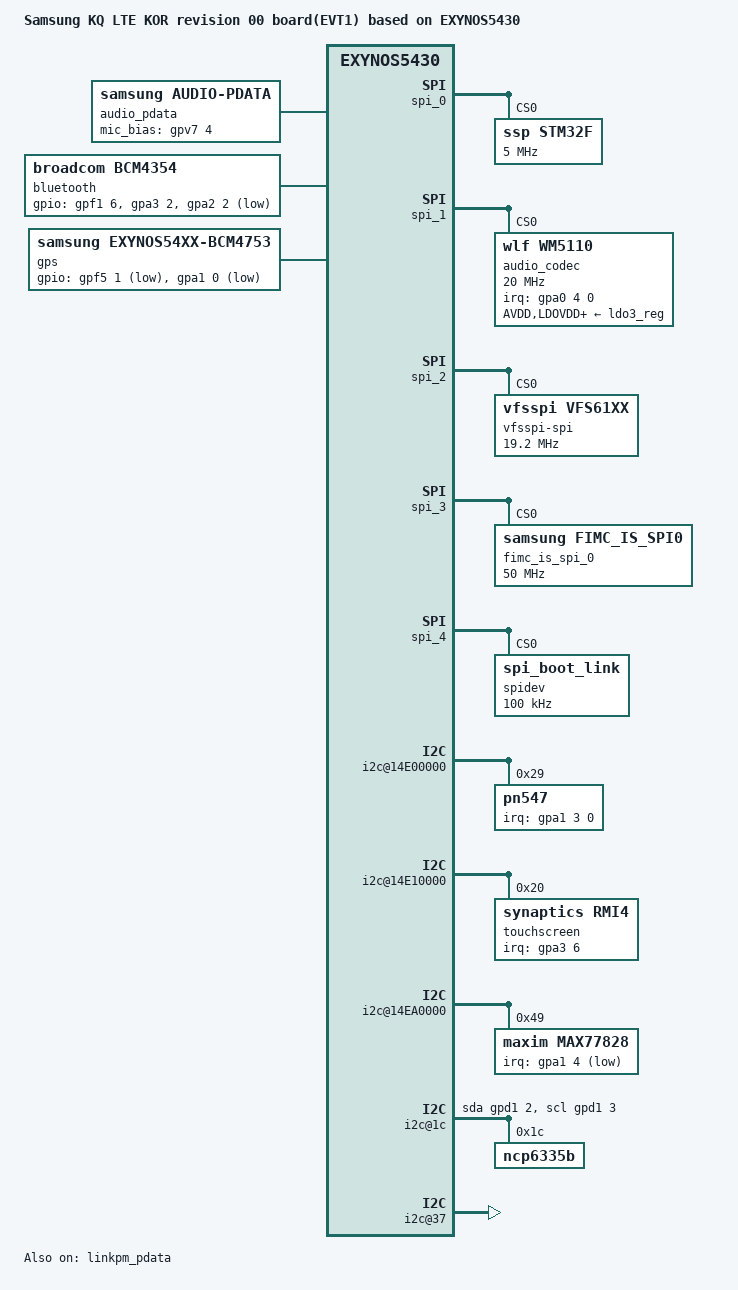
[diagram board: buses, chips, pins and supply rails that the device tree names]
/*
 * SAMSUNG UNIVERSAL5430 board device tree source
 *
 * Copyright (c) 2013 Samsung Electronics Co., Ltd.
 *		http://www.samsung.com
 *
 * This program is free software; you can redistribute it and/or modify
 * it under the terms of the GNU General Public License version 2 as
 * published by the Free Software Foundation.
*/

/dts-v1/;
#include "exynos5430-kq_common.dtsi"
#include "exynos5430-kq_battery.dtsi"
#include "exynos5430-tdmb-kqlte-r00.dtsi"
#include "exynos5-sec_modem-shannon.dtsi"
#include "exynos5430-kqlte_gpio-kor_01.dtsi"

/ {
	model = "Samsung KQ LTE KOR revision 00 board(EVT1) based on EXYNOS5430";
	model_info-chip = <5430>;
	model_info-platform = "kqlte";
	model_info-subtype = "kqlte_kor_open";
	model_info-hw_rev = <0>;
	model_info-hw_rev_end = <0>; /* If add new dts file for new hw , it is set to <x>. x is suppored max system revision by this dts */
	compatible = "samsung,KQ LTE KOR,r00", "samsung,exynos5430";

	dwmmc2@15560000 {
		supports-sdr104-mode;
                vmmc-en-gpio = <&gpf3 4 0x1>;
	};

	/* modem_interface_driver: LTE */
	mif_pdata {
		compatible = "sec_modem,modem_pdata";
		status = "okay";
		pinctrl-names = "default";
		pinctrl-0 = <&cp_on &cp_off &cp_reset>;

		mif,gpio_cp_on = <&gpg2 4 0x1>;
		mif,gpio_cp_off = <&gpf4 7 0x1>;
		mif,gpio_cp_reset = <&gpa1 2 0x1>;
		mif,gpio_cp_dump_int = <&gpa2 5 0xf>;
		mif,gpio_ap_dump_int = <&gpf4 4 0x1>;
		mif,gpio_phone_active = <&gpa2 3 0x1>;
	};

	linkpm_pdata {
		compatible = "sec_modem,linkpm_pdata";
		status = "okay";

		reg = <0x12110000 0x100>,
		      <0x12130000 0x100>;

		linkpm,gpio_link_active = <&gpf4 3 0x1>;
		linkpm,gpio_link_hostwake = <&gpa2 6 0xf>;
		linkpm,gpio_link_slavewake = <&gpf4 6 0x1>;
	};

	pinctrl@10580000 {
		cp_reset: cp_reset {
			samsung,pins = "gpa1-2";
			samsung,pin-function = <1>;
			samsung,pin-con-pdn = <3>;
			samsung,pin-pud-pdn = <0>;
		};
	};

	pinctrl@14CC0000 {
		cp_on: cp_on {
			samsung,pins = "gpg2-4";
			samsung,pin-function = <1>;
			samsung,pin-con-pdn = <3>;
			samsung,pin-pud-pdn = <0>;
		};
		cp_off: cp_off {
			samsung,pins = "gpf4-7";
			samsung,pin-function = <1>;
			samsung,pin-con-pdn = <3>;
			samsung,pin-pud-pdn = <0>;
		};
	};
	/* End of Modem Interface */

	pinctrl@14CC0000 {
		spi0_bus: spi0-bus {
			samsung,pin-drv = <3>;
		};
		spi0_cs: spi0-cs {
			samsung,pin-drv = <3>;
		};
	};

	spi_0: spi@14d20000 {
		#address-cells = <1>;
		#size-cells = <0>;
		pinctrl-names = "default";
		pinctrl-0 = <&spi0_bus>;
		pinctrl-1 = <&spi0_cs>;

		STM32F@0 {
			compatible = "ssp,STM32F";
			reg = <0>;
			spi-max-frequency = <5000000>;
			pinctrl-names = "default";
			pinctrl-0 = <&ssp_irq &ssp_irq2 &ssp_ap_int &ssp_reset>;

			gpio-controller;
			#gpio-cells = <2>;
			ssp-irq = <&gpa3 3 0x01>;
			ssp-irq2 = <&gpa3 4 0x00>;
			ssp-ap-int = <&gpa3 7 0x00>;
			ssp-reset = <&gpd4 0 0x00>;
			ssp-acc-position = <6>;
			ssp-mag-position = <3>;
			ssp-sns-combination = <0>;
			ssp-ap-rev = <1>;

			controller-data {
				cs-gpio = <&gpd8 1 0>;
				samsung,spi-feedback-delay = <0>;
				};
			};
	};

	spi_1: spi@14d30000 {
		#address-cells = <1>;
		#size-cells = <0>;
		pinctrl-names = "default";
		pinctrl-0 = <&spi1_bus>;

		audio_codec: wm5110@0 {
			compatible = "wlf,wm5110";
			reg = <0x0>;
			spi-max-frequency = <20000000>;
			interrupts = <4 0 0>;
			interrupt-parent = <&gpa0>;

			gpio-controller;
			#gpio-cells = <2>;

			pinctrl-names ="default";
			pinctrl-0 = <&codec_ctrl>;

			wlf,reset = <&gpv7 3 0>;
			wlf,ldoena = <&gpf4 2 0>;
			wlf,init-mic-delay = <30>;
			wlf,micd-detect-debounce = <300>;
			wlf,micd-bias-start-time = <0x1>;
			wlf,micd-rate = <0x7>;
			wlf,micd-dbtime = <0x1>;
			wlf,micd-timeout = <1000>;
			wlf,micd-force-micbias;
			wlf,micd-ranges = <
				139 226
				295 115
				752 114
				1257 217
			>;

			wlf,micd-configs = <
				0x0 1 0
			>;

			wlf,micbias1 = <2800 0 1 0 0>;
			wlf,micbias2 = <1800 0 1 0 0>;
			wlf,micbias3 = <1800 0 1 0 0>;

			wlf,gpio-defaults = <
				0xA101
				0xA101
				0xA101
				0xA101
				0x8101
			>;

			wlf,gpsw = <0x3>;
			wlf,use-jd-gpio;
			wlf,jd-gpio-nopull;
			wlf,micd-software-compare;
			wlf,micd-open-circuit-declare = <1>;

			wlf,max-channels-clocked = <2 0 0>;
			/* 0:MICVDD 1:MICBIAS1 2:MICBIAS2 3:MICBIAS3 */
			wlf,dmic-ref = <2 1 3 0>;
			/* 1st cell:IN1 2rd cell:IN2 3nd cell:IN3 4th cell:IN4 */
			wlf,inmode = <2 0 2 0>;

			AVDD-supply = <&ldo3_reg>;
			LDOVDD-supply = <&ldo3_reg>;
			DBVDD1-supply = <&ldo3_reg>;

			CPVDD-supply = <&ldo3_reg>;
			DBVDD2-supply = <&ldo3_reg>;
			DBVDD3-supply = <&ldo3_reg>;
			SPKVDDL-supply = <&ldo3_reg>;
			SPKVDDR-supply = <&ldo3_reg>;

			adsps {
				#address-cells = <1>;
				#size-cells = <0>;

				adsp@1100 {
					reg = <0x1100>;
					firmware {
						EDAC {
							wlf,wmfw-file = "edac";
							wlf,bin-file = "edac";
						};
						TRACE {
							wlf,wmfw-file = "trace";
							wlf,compr-caps = <1 8 0x4 1 8000 16000 24000>;
						};
					};
				};
				adsp@1200 {
					reg = <0x1200>;
					firmware {
						TX_NB {
							wlf,wmfw-file = "tx-nb";
						};
						TX_WB {
							wlf,wmfw-file = "tx-wb";
						};
						TX_SWB_INTERVIEW {
							wlf,wmfw-file = "tx-swb";
						};
						TX_SWB_CONVERSATION {
							wlf,wmfw-file = "tx-swb";
						};
					};
				};
				adsp@1300 {
					reg = <0x1300>;
					firmware {
						TX_NB {
							wlf,wmfw-file = "tx-nb";
							wlf,bin-file = "tx-nb";
						};
						TX_WB {
							wlf,wmfw-file = "tx-wb";
							wlf,bin-file = "tx-wb";
						};
						TX_SWB_INTERVIEW {
							wlf,wmfw-file = "tx-swb";
							wlf,bin-file = "tx-swb-interview";
						};
						TX_SWB_CONVERSATION {
							wlf,wmfw-file = "tx-swb";
							wlf,bin-file = "tx-swb-conversation";
						};
						VOICECONTROL {
							wlf,wmfw-file = "ez2-control";
							wlf,bin-file = "ez2-control";
						};
						LPSD {
							wlf,wmfw-file = "ez2-control";
							wlf,bin-file = "lpsd-control";
						};
					};
				};
				adsp@1400 {
					reg = <0x1400>;
					firmware {
						RX_NB {
							wlf,wmfw-file = "rx-anc-nb";
							wlf,bin-file = "rx-anc-nb";
						};
						RX_WB {
							wlf,wmfw-file = "rx-anc-wb";
							wlf,bin-file = "rx-anc-wb";
						};
					};
				};
			};
			controller-data {
				cs-gpio = <&gpd6 3 0>;
				samsung,spi-feedback-delay = <0>;
			};
		};
	};

	pinctrl@10580000 {
		btp_irq: btp-irq {
			samsung,pins = "gpa1-7";
			samsung,pin-function = <0>;
			samsung,pin-pud = <3>;
			samsung,pin-drv = <3>;
		};
		btp_reset: btp-reset {
			samsung,pins = "gpa3-1";
			samsung,pin-function = <1>;
			samsung,pin-pud = <1>;
			samsung,pin-drv = <0>;
		};
	};
	pinctrl@14CC0000 {
		ocp_flag: ocf-flag {
			samsung,pins = "gpf0-3";
			samsung,pin-function = <0>;
			samsung,pin-pud = <3>;
			samsung,pin-drv = <3>;
		};
		btp_ldo: btp-ldo {
			samsung,pins = "gpf4-0";
			samsung,pin-function = <1>;
			samsung,pin-pud = <1>;
			samsung,pin-drv = <0>;
		};
		spi2_bus: spi2-bus {
			samsung,pin-drv = <3>;
		};

		spi2_cs: spi2-cs {
			samsung,pin-drv = <3>;
		};
	};
	spi_2: spi@14d40000 {
		/delete-property/ dma-mode;
		/delete-property/ dmas;
		/delete-property/ dma-names;
		#address-cells = <1>;
		#size-cells = <0>;
		pinctrl-names = "default";
		pinctrl-0 = <&spi2_bus>;

		vfsspi-spi@0 {
			compatible = "vfsspi,vfs61xx";
			reg = <0>;
			spi-max-frequency = <19200000>;
			pinctrl-names = "default";
			pinctrl-0 = <&btp_irq &btp_reset &btp_ldo &ocp_flag>;

			gpio-controller;
			#gpio-cells = <2>;

			vfsspi-sleepPin = <&gpa3 1 0x00>;
			vfsspi-drdyPin = <&gpa1 7 0x00>;
			vfsspi-ldoPin = <&gpf4  0 0x00>;
			/* vfsspi-ocpflag = <&gpf0 3 0x00>; */
			vfsspi-orient = <1>;
			vfsspi-ldocontrol = <1>;
			vfsspi-irqpincon = <2>; /* 1: K3G(5422), 2: KQ(5430) */

			controller-data {
				cs-gpio = <&gpd5 1 0 0 3>;
				samsung,spi-feedback-delay = <0>;
			};
		};
	};

	spi_3: spi@141a0000 {
		fimc-is-spi;
		domain = "cam1";
		samsung,power-domain = <&pd_cam1>;

		#address-cells = <1>;
		#size-cells = <0>;

		fimc_is_spi_0@0 {
			compatible = "samsung,fimc_is_spi0";
			spi-max-frequency = <50000000>;
			reg = <0x0>;

			controller-data {
				cs-gpio = <&gpc0 6 0>;
				samsung,spi-feedback-delay = <0>;
			};
		};
	};

	spi_4: spi@141b0000 {
		fimc-is-spi;
		domain = "cam1";
		samsung,power-domain = <&pd_cam1>;

		#address-cells = <1>;
		#size-cells = <0>;

		spidev@0 {
			#address-cells = <1>;
			#size-cells = <1>;
			compatible = "spi_boot_link";
			reg = <0x0>;
			spi-max-frequency = <100000>;

			controller-data {
				samsung,spi-feedback-delay = <0>;
				samsung,spi-chip-select-mode = <1>;
			};
		};
	};


	mipi-lli@10F24000 {
		reg = <0x10F24000 0x4000>,
		      <0x10F34000 0x4000>,
		      <0x10FD0000 0x2000>,
		      <0x105C0720 0x4>;
	};

	audio_pdata {
		compatible = "samsung,audio-pdata";

		mic_bias_gpio = <&gpv7 4 0>;
		status = "okay";
	};

	pinctrl@14CC0000 {
		codec_ctrl: codec-ctl {
			samsung,pins ="gpv7-3", "gpv7-4", "gpf4-2";
			samsung,pin-con-pdn = <3>;
		};
	};

	i2c@14E00000 {
		samsung,i2c-sda-delay = <100>;
		samsung,i2c-max-bus-freq = <400000>;
		#address-cells = <1>;
		#size-cells = <0>;
		status = "okay";

		pn547@2b {
			compatible = "pn547";
			reg = <0x29>;

			interrupts = <3 0 0>;
			interrupt-parent = <&gpa1>;

			pn547-en = <&gpf1 4 0>;
			pn547-irq = <&gpa1 3 0>;
			pn547-firmware = <&gpj0 2 0>;
			pn547-clk-req = <&gpa0 0 0xf>;
			pn547-clk-use = <1>;
		};

		fimc_is_fan53555@60 {
			status = "disabled";
		};
	};

	pinctrl@10580000 {
		attn_irq: attn-irq {
			samsung,pins = "gpa3-6";
			samsung,pin-function = <0xf>;
			samsung,pin-pud = <0>;
			samsung,pin-drv = <0>;
		};
		attn_input: attn-input {
			samsung,pins = "gpa3-6";
			samsung,pin-function = <0>;
			samsung,pin-pud = <1>;
			samsung,pin-drv = <0>;
		};
	};

	i2c@14E10000 {
		samsung,i2c-sda-delay = <100>;
		samsung,i2c-max-bus-freq = <400000>;
		status = "okay";
		touchscreen@20 {
			compatible = "synaptics,rmi4";
			reg = <0x20>;
			pinctrl-names = "on_state", "off_state";
			pinctrl-0 = <&attn_irq>;
			pinctrl-1 = <&attn_input>;
			synaptics,irq_gpio = <&gpa3 6 0>;
			synaptics,irq_type = <8200>;
			synaptics,max_coords = <1439 2559>;	/* x y */
			synaptics,num_lines = <29 16>;		/* rx tx */
			synaptics,regulator_dvdd = "tsp_io";
			synaptics,regulator_avdd = "tsp_avdd";
			synaptics,project_name = "KQ";
		};
	};

	pinctrl@14CC0000 {
		vibetonz_pwm: vibetonz-pwm {
		      samsung,pins = "gpd2-4";
		      samsung,pin-function = <2>;
		      samsung,pin-pud = <0>;
		      samsung,pin-drv = <0>;
	      };
	};
	i2c@14EA0000 {
		samsung,i2c-sda-delay = <100>;
		samsung,i2c-max-bus-freq = <400000>;
		status = "okay";
		max77804@66 {
			status = "disabled";
		};
		max77828@49 {
			compatible = "maxim,max77828";
			reg = <0x49>;
			pinctrl-names = "default";
			pinctrl-0 = <&mfd_irq &vibetonz_pwm>;
			max77828,irq-gpio = <&gpa1 4 1>;
			max77828,wakeup;
			haptic {
				haptic,max_timeout = <10000>;
				haptic,duty = <34500>;
				haptic,period = <38240>;
				haptic,pwm_id = <0>;
				haptic,regulator_name = "VCC_3.0V_MOTOR_AP";
			};
		};
	};

	i2c_8: i2c@14130000 {
		samsung,spi-feedback-delay = <0>;
		samsung,spi-chip-select-mode = <1>;
        };

	i2c@1c{
		compatible = "i2c-gpio";
		gpios = <&gpd1 2 0 /* sda */
                            &gpd1 3 0 /* scl */
                            >;
		i2c-gpio,delay-us = <2>;
		#address-cells = <1>;
		#size-cells = <0>;
		status = "okay";

		ncp6335b@1c {
			compatible = "ncp6335b";
			reg = <0x1c>;
			ncp6335b,dev_name = "ncp6335b";
		};
	};

	i2c@37 {
		status = "okay";
	};

	torch {
		status = "disabled";
	};

	fimc_is@14000000 {
		use_vision = <0>;
	};

	pinctrl@114B0000 {
		uart_aud_rts: uart-aud-rts {
			samsung,pins = "gpz1-3";
			samsung,pin-function = <2>;
			samsung,pin-pud = <0>;
			samsung,pin-con-pdn = <1>;
			samsung,pin-pud-pdn = <0>;
		};

		uart_aud_cts: uart-aud-cts {
			samsung,pins = "gpz1-2";
			samsung,pin-function = <2>;
			samsung,pin-pud = <0>;
			samsung,pin-con-pdn = <2>;
			samsung,pin-pud-pdn = <0>;
		};

		uart_aud_tx: uart-aud-tx {
			samsung,pins = "gpz1-1";
			samsung,pin-function = <2>;
			samsung,pin-pud = <0>;
			samsung,pin-con-pdn = <1>;
			samsung,pin-pud-pdn = <0>;
		};

		uart_aud_rx: uart-aud-rx {
			samsung,pins = "gpz1-0";
			samsung,pin-function = <2>;
			samsung,pin-pud = <0>;
			samsung,pin-con-pdn = <2>;
			samsung,pin-pud-pdn = <0>;
		};
	};

	serial@11460000 {
		pinctrl-0 = <&uart_aud_rts &uart_aud_cts &uart_aud_tx &uart_aud_rx>;
	};

/*
			samsung,pins = "gpa0-0";

			samsung,pin-function = <2>;
			0 : input, 1 : output 2 : special_function

			samsung,pin-pud = <0>;
			0 : reserved 1 : pull down 2 : reserved 3 : pull up

			samsung,pin-con-pdn = <2>;
			0 : output0 1 : output1 2: input 3: previous state

			samsung,pin-pud-pdn = <0>;
			0 : pull up/down disable 1 : pull down 2 : reserved 3 : pull up
*/

	pinctrl@14CC0000 {
		cfg_en: cfg-en {
			samsung,pins ="gpf1-6";
			samsung,pin-function = <1>;
			samsung,pin-pud = <1>;
			samsung,pin-con-pdn = <3>;
			samsung,pin-pud-pdn = <1>;
		};
	};

	pinctrl@10580000{
		cfg_hostwake: cfg-hostwake {
			samsung,pins = "gpa2-2";
			samsung,pin-function = <0>;
			samsung,pin-pud = <2>;
			samsung,pin-con-pdn = <2>;
			samsung,pin-pud-pdn = <0>;
		};

		cfg_btwake: cfg-btwake {
			samsung,pins = "gpa3-2";
			samsung,pin-function = <1>;
			samsung,pin-pud = <1>;
			samsung,pin-con-pdn = <1>;
			samsung,pin-pud-pdn = <1>;
		};
	};

	bluetooth {
		compatible = "broadcom,bcm4354";

		gpios = <&gpf1 6 0	/*BT_EN*/
				&gpa3 2 0	/*BT_WAKE*/
				&gpa2 2 0xF	/*BT_HOST_WAKE*/ >;

		pinctrl-names = "default";
		pinctrl-0=<&cfg_hostwake &cfg_btwake &cfg_en>;
		status = "okay";
	};

	pinctrl@14CC0000 {
		uart0_rts: uart0-rts {
			samsung,pins = "gpd0-3";
			samsung,pin-function = <2>;
			samsung,pin-pud = <0>;
			samsung,pin-con-pdn = <1>;
			samsung,pin-pud-pdn = <0>;
		};

		uart0_cts: uart0-cts {
			samsung,pins = "gpd0-2";
			samsung,pin-function = <2>;
			samsung,pin-pud = <0>;
			samsung,pin-con-pdn = <2>;
			samsung,pin-pud-pdn = <1>;
		};

		uart0_tx: uart0-tx {
			samsung,pins = "gpd0-1";
			samsung,pin-function = <2>;
			samsung,pin-pud = <0>;
			samsung,pin-con-pdn = <2>;
			samsung,pin-pud-pdn = <3>;		};

		uart0_rx: uart0-rx {
			samsung,pins = "gpd0-0";
			samsung,pin-function = <2>;
			samsung,pin-pud = <3>;
			samsung,pin-con-pdn = <2>;
			samsung,pin-pud-pdn = <3>;
		};
	};

	serial@14C10000 {
		pinctrl-0 = <&uart0_rts &uart0_cts &uart0_tx &uart0_rx>;
	};

	gps {
		compatible = "samsung,exynos54xx-bcm4753";
		gpios = <&gpf5 1 0x1
				&gpa1 0 0xf
				>;
		status = "okay";
	};

	usb_notifier {
		gpios_redriver_en = <&gpf3 2 0x1>; /* USB3.0_REDRIVER_EN */
	};
};
